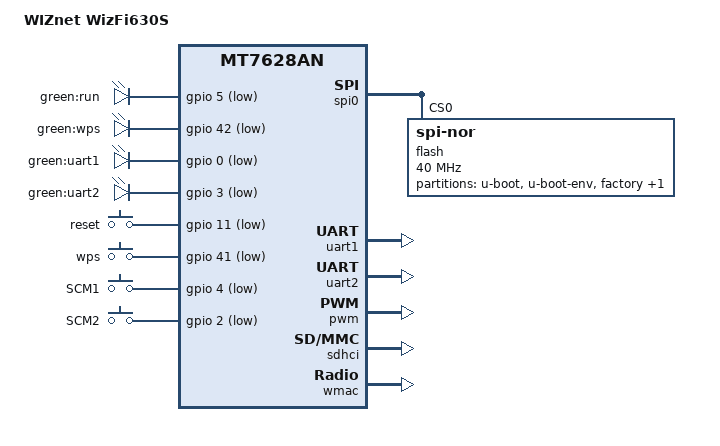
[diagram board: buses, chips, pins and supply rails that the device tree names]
// SPDX-License-Identifier: GPL-2.0-or-later OR MIT

#include "mt7628an.dtsi"

#include <dt-bindings/gpio/gpio.h>
#include <dt-bindings/input/input.h>

/ {
	compatible = "wiznet,wizfi630s", "mediatek,mt7628an-soc";
	model = "WIZnet WizFi630S";

	chosen {
		bootargs = "console=ttyS1,115200";
	};

	aliases {
		led-boot = &led_run;
		led-failsafe = &led_run;
		led-running = &led_run;
		led-upgrade = &led_run;
		serial0 = &uart1;
		serial1 = &uartlite;
	};

	leds {
		compatible = "gpio-leds";

		led_run: run {
			label = "green:run";
			gpios = <&gpio 5 GPIO_ACTIVE_LOW>;
		};

		ledwps {
			label = "green:wps";
			gpios = <&gpio 42 GPIO_ACTIVE_LOW>;
		};

		leduart1 {
			label = "green:uart1";
			gpios = <&gpio 0 GPIO_ACTIVE_LOW>;
		};

		leduart2 {
			label = "green:uart2";
			gpios = <&gpio 3 GPIO_ACTIVE_LOW>;
		};
	};

	keys {
		compatible = "gpio-keys";

		#address-cells = <1>;
		#size-cells = <0>;

		reset {
			label = "reset";
			gpios = <&gpio 11 GPIO_ACTIVE_LOW>;
			linux,code = <KEY_RESTART>;
		};

		wps {
			label = "wps";
			gpios = <&gpio 41 GPIO_ACTIVE_LOW>;
			linux,code = <KEY_WPS_BUTTON>;
		};

		scm1 {
			label = "SCM1";
			gpios = <&gpio 4 GPIO_ACTIVE_LOW>;
			linux,code = <BTN_1>;
			linux,input-type = <EV_SW>;
		};

		scm2 {
			label = "SCM2";
			gpios = <&gpio 2 GPIO_ACTIVE_LOW>;
			linux,code = <BTN_2>;
			linux,input-type = <EV_SW>;
		};
	};
};

&state_default {
	gpio {
		groups = "gpio", "i2s", "i2c", "wdt", "refclk", "p1led_an", "p2led_an";
		function = "gpio";
	};
};

&spi0 {
	status = "okay";

	pinctrl-names = "default";
	pinctrl-0 = <&spi_pins>, <&spi_cs1_pins>;

	flash@0 {
		compatible = "jedec,spi-nor";
		reg = <0>;
		spi-max-frequency = <40000000>;
		broken-flash-reset;

		partitions {
			compatible = "fixed-partitions";
			#address-cells = <1>;
			#size-cells = <1>;

			partition@0 {
				label = "u-boot";
				reg = <0x0 0x30000>;
				read-only;
			};

			partition@30000 {
				label = "u-boot-env";
				reg = <0x30000 0x10000>;
				read-only;
			};

			factory: partition@40000 {
				label = "factory";
				reg = <0x40000 0x10000>;
				read-only;
			};

			partition@50000 {
				compatible = "denx,uimage";
				label = "firmware";
				reg = <0x50000 0x1fb0000>;
			};
		};
	};
};

&uart1 {
	status = "okay";
};

&uart2 {
	status = "okay";
};

&pwm {
	status = "okay";
};

&ethernet {
	nvmem-cells = <&macaddr_factory_2e>;
	nvmem-cell-names = "mac-address";
};

&esw {
	mediatek,portmap = <0x3e>;
	mediatek,portdisable = <0x26>;
};

&sdhci {
	status = "okay";
	mediatek,cd-high;
};

&wmac {
	status = "okay";

	mediatek,mtd-eeprom = <&factory 0x0>;
};

&factory {
	compatible = "nvmem-cells";
	#address-cells = <1>;
	#size-cells = <1>;

	macaddr_factory_2e: macaddr@2e {
		reg = <0x2e 0x6>;
	};
};
